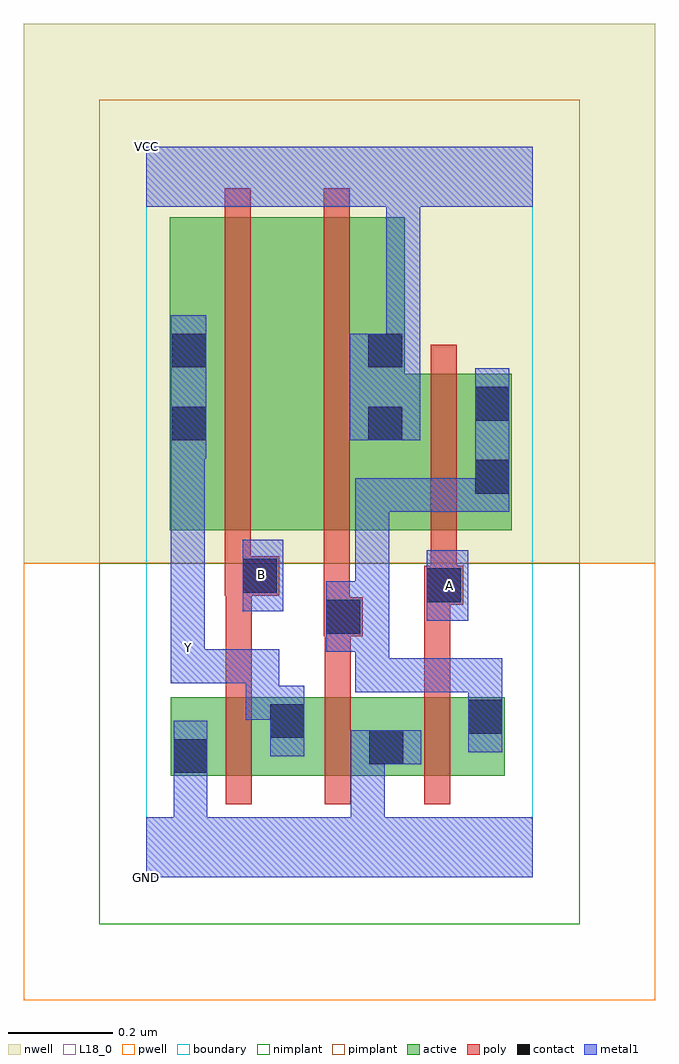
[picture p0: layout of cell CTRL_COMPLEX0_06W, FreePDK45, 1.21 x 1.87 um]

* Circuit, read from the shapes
.subckt CTRL_COMPLEX0_06W A B GND VCC Y
M1 Y B GND VSUBS nfet w=0.15u l=0.05u
M2 GND n1 Y VSUBS nfet w=0.15u l=0.05u
M3 n1 A GND VSUBS nfet w=0.15u l=0.05u
M4 n2 B Y n3 pfet w=0.6u l=0.05u
M5 VCC n1 n2 n3 pfet w=0.6u l=0.05u
M6 n1 A VCC n3 pfet w=0.3u l=0.05u
.ends

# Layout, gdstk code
import gdstk
lib = gdstk.Library(unit=1e-6, precision=1e-09)
def R(c, l, rs):  # rectangles x0, y0, x1, y1
    for r in rs: c.add(gdstk.rectangle(r[:2], r[2:], *l))
def A(c, l, x, y, w, h, nx, ny, dx, dy):  # array of equal rectangles
    R(c, l, [(x+i*dx, y+j*dy, x+i*dx+w, y+j*dy+h) for i in range(nx) for j in range(ny)])
active = (1, 0)
pwell = (2, 0)
nwell = (3, 0)
nimplant = (4, 0)
pimplant = (5, 0)
poly = (9, 0)
contact = (10, 0)
metal1 = (11, 0)
L18_0 = (18, 0)
boundary = (235, 0)

ctrl_complex0_06w = lib.new_cell('CTRL_COMPLEX0_06W')
R(ctrl_complex0_06w, active, [(0.047,0.195,0.307,0.345), (0.047,0.195,0.122,0.345), (0.232,0.195,0.497,0.345), (0.422,0.195,0.687,0.345), (0.422,0.195,0.497,0.31), (0.232,0.2,0.307,0.345), (0.612,0.235,0.687,0.345), (0.045,0.665,0.27,1.265), (0.045,0.665,0.15,1.2), (0.27,0.665,0.495,1.265), (0.42,0.665,0.7,0.965), (0.625,0.665,0.7,0.957), (0.42,0.682,0.495,1.265)])
R(ctrl_complex0_06w, pwell, [(-0.235,-0.235,0.975,0.602)])
R(ctrl_complex0_06w, nwell, [(-0.235,0.602,0.975,1.635)])
R(ctrl_complex0_06w, nimplant, [(-0.09,-0.09,0.83,0.602)])
R(ctrl_complex0_06w, pimplant, [(-0.09,0.602,0.83,1.49)])
A(ctrl_complex0_06w, poly, 0.152, 0.14, 0.05, 0.26, 3, 1, 0.19, 0)
R(ctrl_complex0_06w, poly, [(0.152,0.35,0.202,0.59), (0.342,0.35,0.392,0.512), (0.532,0.35,0.582,0.572), (0.34,0.462,0.415,0.537), (0.34,0.487,0.39,0.66), (0.532,0.522,0.607,0.597), (0.15,0.54,0.255,0.615), (0.545,0.547,0.595,0.66), (0.15,0.565,0.2,0.66), (0.15,0.61,0.2,1.32), (0.34,0.61,0.39,1.32), (0.545,0.61,0.595,1.02)])
R(ctrl_complex0_06w, contact, [(0.052,0.2,0.117,0.265), (0.427,0.217,0.492,0.282), (0.237,0.267,0.302,0.332), (0.617,0.275,0.682,0.34), (0.345,0.467,0.41,0.532), (0.537,0.527,0.602,0.592), (0.185,0.545,0.25,0.61), (0.63,0.735,0.695,0.8), (0.05,0.837,0.115,0.902), (0.425,0.837,0.49,0.902), (0.63,0.875,0.695,0.94), (0.05,0.977,0.115,1.042), (0.425,0.977,0.49,1.042)])
R(ctrl_complex0_06w, metal1, [(0,0,0.74,0.115), (0.052,0.05,0.117,0.23), (0.392,0.05,0.457,0.115), (0.392,0.05,0.457,0.115), (0.392,0.05,0.457,0.115), (0.392,0.05,0.457,0.115), (0.392,0.05,0.457,0.282), (0.052,0.165,0.117,0.23), (0.052,0.165,0.117,0.23), (0.052,0.165,0.117,0.23), (0.052,0.165,0.117,0.23), (0.052,0.165,0.117,0.3), (0.392,0.217,0.527,0.282), (0.237,0.232,0.302,0.367), (0.617,0.24,0.682,0.375), (0.19,0.302,0.255,0.437), (0.19,0.302,0.302,0.367), (0.617,0.31,0.682,0.375), (0.617,0.31,0.682,0.42), (0.4,0.355,0.682,0.42), (0.4,0.355,0.465,0.425), (0.4,0.36,0.465,0.425), (0.4,0.36,0.465,0.497), (0.047,0.372,0.112,0.437), (0.047,0.372,0.112,0.437), (0.047,0.372,0.112,0.507), (0.047,0.372,0.255,0.437), (0.345,0.432,0.41,0.567), (0.345,0.432,0.465,0.497), (0.4,0.432,0.465,0.765), (0.047,0.442,0.112,0.867), (0.537,0.492,0.617,0.627), (0.185,0.51,0.262,0.647), (0.4,0.7,0.465,0.765), (0.4,0.7,0.695,0.765), (0.63,0.7,0.695,0.765), (0.63,0.7,0.695,0.765), (0.63,0.7,0.695,0.975), (0.047,0.802,0.115,1.077), (0.39,0.837,0.525,1.042), (0.46,0.977,0.525,1.35), (0,1.285,0.74,1.4)])
R(ctrl_complex0_06w, L18_0, [(0,0,0.74,0.115), (0.052,0.05,0.117,0.23), (0.392,0.05,0.457,0.115), (0.392,0.05,0.457,0.115), (0.392,0.05,0.457,0.115), (0.392,0.05,0.457,0.115), (0.392,0.05,0.457,0.282), (0.052,0.165,0.117,0.23), (0.052,0.165,0.117,0.23), (0.052,0.165,0.117,0.23), (0.052,0.165,0.117,0.23), (0.052,0.165,0.117,0.3), (0.392,0.217,0.527,0.282), (0.237,0.232,0.302,0.367), (0.19,0.302,0.255,0.437), (0.19,0.302,0.302,0.367), (0.047,0.372,0.112,0.437), (0.047,0.372,0.112,0.437), (0.047,0.372,0.112,0.507), (0.047,0.372,0.255,0.437), (0.047,0.407,0.112,0.472), (0.047,0.442,0.112,0.867), (0.537,0.492,0.617,0.627), (0.185,0.51,0.262,0.647), (0.547,0.527,0.612,0.592), (0.187,0.547,0.252,0.612), (0.047,0.802,0.115,1.077), (0.39,0.837,0.525,1.042), (0.46,0.977,0.525,1.35), (0,1.285,0.74,1.4)])
R(ctrl_complex0_06w, boundary, [(0,0,0.74,1.4)])
ctrl_complex0_06w.add(gdstk.Label('A', (0.58,0.56), layer=11, texttype=0))
ctrl_complex0_06w.add(gdstk.Label('B', (0.22,0.58), layer=11, texttype=0))
ctrl_complex0_06w.add(gdstk.Label('Y', (0.08,0.44), layer=11, texttype=0))
ctrl_complex0_06w.add(gdstk.Label('VCC', (0,1.4), layer=11, texttype=0))
ctrl_complex0_06w.add(gdstk.Label('GND', (0,0), layer=11, texttype=0))

lib.write_gds('CTRL_COMPLEX0_06W.gds')
